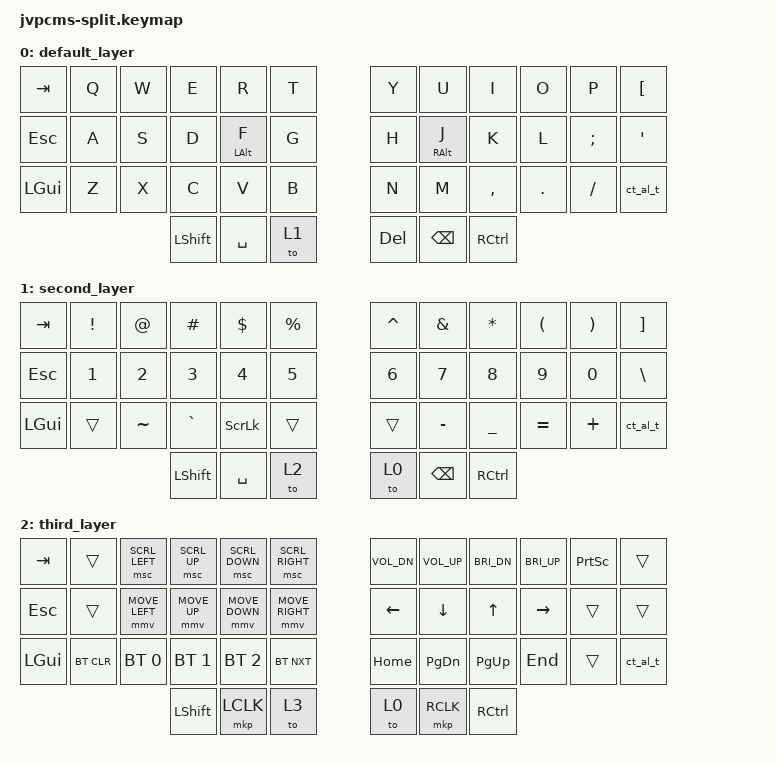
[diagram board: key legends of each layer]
#include <behaviors.dtsi>
#include <dt-bindings/zmk/keys.h>
#include <dt-bindings/zmk/bt.h>
#include <dt-bindings/zmk/pointing.h>

/ {
    keymap {
      compatible = "zmk,keymap";
      combos {
        compatible = "zmk,combos";
        combo_enter {
          timeout-ms = <50>;
          key-positions = <19 20>;
          bindings = <&kp ENTER>;
        };
      };
      macros {
        ct_al_t: ct_al_t {
          compatible = "zmk,behavior-macro";
          #binding-cells = <0>;
          bindings
          = <&macro_press &kp LCTRL>
          , <&macro_press &kp LALT>
          , <&macro_tap &kp T>
          , <&macro_release &kp LALT>
          , <&macro_release &kp LCTRL>
          ;
        };
      };
      default_layer {
        bindings = <
        // ┌─────────┬─────────┬─────────┬─────────┬──────────┬─────────┐     ┌─────────┬──────────┬─────────┬─────────┬─────────┬─────────┐
        // │         │         │         │         │          │         │     │         │          │         │         │         │         │
            &kp TAB   &kp Q     &kp W     &kp E     &kp R      &kp T           &kp Y     &kp U      &kp I     &kp O     &kp P     &kp LBKT
        // ├─────────┼─────────┼─────────┼─────────┼──────────┼─────────┤     ├─────────┼──────────┼─────────┼─────────┼─────────┼─────────┤
        // │         │         │         │         │          │         │     │         │          │         │         │         │         │
            &kp ESC   &kp A     &kp S     &kp D     &mt LALT F &kp G           &kp H     &mt RALT J &kp K     &kp L     &kp SEMI  &kp SQT
        // ├─────────┼─────────┼─────────┼─────────┼──────────┼─────────┤     ├─────────┼──────────┼─────────┼─────────┼─────────┼─────────┤
        // │         │         │         │         │          │         │     │         │          │         │         │         │         │
            &kp LGUI  &kp Z     &kp X     &kp C     &kp V      &kp B           &kp N     &kp M      &kp COMMA &kp DOT   &kp FSLH  &ct_al_t
        // └─────────┴─────────┴─────────┼─────────┼──────────┼─────────┤     ├─────────┼──────────┼─────────┼─────────┴─────────┴─────────┘
        //                               │         │          │         │     │         │          │         │ 
                                          &kp LSHFT &kp SPACE  &to 1           &kp DEL   &kp BSPC   &kp RCTRL
        //                               └─────────┴──────────┴─────────┘     └─────────┴──────────┴─────────┘ 
        >;
      };
      second_layer {
        bindings = <
          // ┌─────────┬─────────┬─────────┬─────────┬─────────┬─────────┐     ┌─────────┬─────────┬─────────┬─────────┬─────────┬─────────┐
          // │         │         │         │         │         │         │     │         │         │         │         │         │         │
              &kp TAB   &kp EXCL  &kp AT    &kp HASH  &kp DLLR  &kp PRCNT       &kp CARET &kp AMPS  &kp ASTRK &kp LPAR  &kp RPAR  &kp RBKT
          // ├─────────┼─────────┼─────────┼─────────┼─────────┼─────────┤     ├─────────┼─────────┼─────────┼─────────┼─────────┼─────────┤
          // │         │         │         │         │         │         │     │         │         │         │         │         │         │
              &kp ESC   &kp N1    &kp N2    &kp N3    &kp N4    &kp N5          &kp N6    &kp N7    &kp N8    &kp N9    &kp N0    &kp BSLH
          // ├─────────┼─────────┼─────────┼─────────┼─────────┼─────────┤     ├─────────┼─────────┼─────────┼─────────┼─────────┼─────────┤
          // │         │         │         │         │         │         │     │         │         │         │         │         │         │
              &kp LGUI  &trans    &kp TILDE &kp GRAVE &kp SLCK  &trans          &trans    &kp MINUS &kp UNDER &kp EQUAL &kp PLUS  &ct_al_t
          // └─────────┴─────────┴─────────┼─────────┼─────────┼─────────┤     ├─────────┼─────────┼─────────┼─────────┴─────────┴─────────┘
          //                               │         │         │         │     │         │         │         │
                                            &kp LSHFT &kp SPACE &to 2           &to 0     &kp BSPC  &kp RCTRL
          //                               └─────────┴─────────┴─────────┘     └─────────┴─────────┴─────────┘
        >;
      };
      third_layer {
        bindings = <
          // ┌─────────┬──────────┬──────────────┬──────────────┬──────────────┬───────────────┐     ┌────────────┬────────────┬────────────┬────────────┬─────────┬──────────┐ 
          // │         │          │              │              │              │               │     │            │            │            │            │         │          │ 
              &kp TAB   &trans     &msc SCRL_LEFT &msc SCRL_UP   &msc SCRL_DOWN &msc SCRL_RIGHT       &kp K_VOL_DN &kp K_VOL_UP &kp C_BRI_DN &kp C_BRI_UP &kp PSCRN &trans
          // ├─────────┼──────────┼──────────────┼──────────────┼──────────────┼───────────────┤     ├────────────┼────────────┼────────────┼────────────┼─────────┼──────────┤ 
          // │         │          │              │              │              │               │     │            │            │            │            │         │          │ 
              &kp ESC   &trans     &mmv MOVE_LEFT &mmv MOVE_UP   &mmv MOVE_DOWN &mmv MOVE_RIGHT       &kp LEFT     &kp DOWN     &kp UP       &kp RIGHT    &trans    &trans
          // ├─────────┼──────────┼──────────────┼──────────────┼──────────────┼───────────────┤     ├────────────┼────────────┼────────────┼────────────┼─────────┼──────────┤ 
          // │         │          │              │              │              │               │     │            │            │            │            │         │          │
              &kp LGUI  &bt BT_CLR &bt BT_SEL 0   &bt BT_SEL 1  &bt BT_SEL 2    &bt BT_NXT            &kp HOME     &kp PG_DN    &kp PG_UP    &kp END      &trans    &ct_al_t
          // └─────────┴──────────┴──────────────┼──────────────┼──────────────┼───────────────┤     ├────────────┼────────────┼────────────┼────────────┴─────────┴──────────┘
          //                                     │              │              │               │     │            │            │            │
                                                  &kp LSHFT      &mkp LCLK      &to 3                 &to 0        &mkp RCLK    &kp RCTRL
          //                                     └──────────────┴──────────────┴───────────────┘     └────────────┴────────────┴────────────┘
        >;
      };
    };
  };
